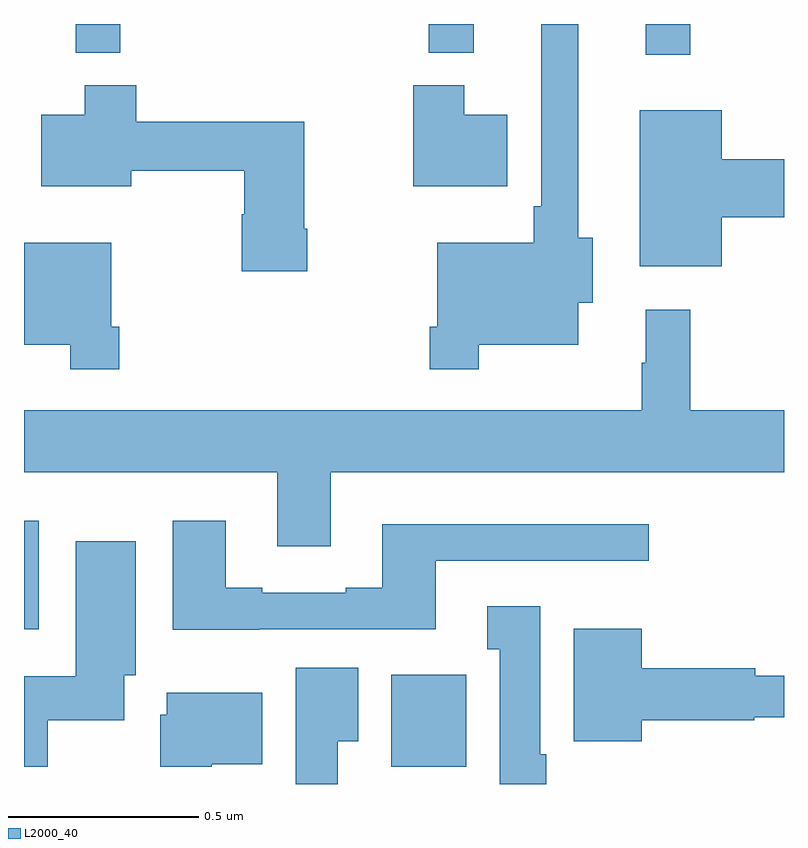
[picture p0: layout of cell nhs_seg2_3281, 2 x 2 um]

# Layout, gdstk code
import gdstk
lib = gdstk.Library(unit=1e-6, precision=1e-09)
def R(c, l, rs):  # rectangles x0, y0, x1, y1
    for r in rs: c.add(gdstk.rectangle(r[:2], r[2:], *l))
def P(c, l, *ps):  # polygons
    for p in ps: c.add(gdstk.Polygon(p, *l))
L2000_40 = (2000, 40)

nhs_seg2_3281 = lib.new_cell('nhs_seg2_3281')
R(nhs_seg2_3281, L2000_40, [(151.967,662.846,152.164,663.088), (151,663.207,151.039,663.493), (152.636,664.719,152.753,664.8), (151.136,664.724,151.253,664.8), (152.065,664.724,152.183,664.8)])
P(nhs_seg2_3281, L2000_40, [(152.197,663.956),(152.458,663.956),(152.458,664.067),(152.497,664.067),(152.497,664.238),(152.458,664.238),(152.458,664.8),(152.361,664.8),(152.361,664.321),(152.341,664.321),(152.341,664.225),(152.088,664.225),(152.088,664.003),(152.068,664.003),(152.068,663.891),(152.197,663.891)],
  [(152.272,664.561),(152.158,664.561),(152.158,664.639),(152.024,664.639),(152.024,664.373),(152.272,664.373)],
  [(151.746,664.261),(151.738,664.261),(151.738,664.543),(151.295,664.543),(151.295,664.639),(151.16,664.639),(151.16,664.561),(151.046,664.561),(151.046,664.373),(151.282,664.373),(151.282,664.414),(151.58,664.414),(151.58,664.299),(151.573,664.299),(151.573,664.149),(151.746,664.149)],
  [(152.836,664.292),(153,664.292),(153,664.444),(152.836,664.444),(152.836,664.573),(152.621,664.573),(152.621,664.163),(152.836,664.163)],
  [(151.25,664.003),(151.23,664.003),(151.23,664.225),(151,664.225),(151,663.956),(151.122,663.956),(151.122,663.891),(151.25,663.891)],
  [(151.807,663.62),(153,663.62),(153,663.784),(152.753,663.784),(152.753,664.048),(152.636,664.048),(152.636,663.908),(152.625,663.908),(152.625,663.784),(151,663.784),(151,663.62),(151.667,663.62),(151.667,663.426),(151.807,663.426)],
  [(151.619,663.207),(152.083,663.207),(152.083,663.387),(152.644,663.387),(152.644,663.484),(151.943,663.484),(151.943,663.316),(151.847,663.316),(151.847,663.303),(151.627,663.303),(151.627,663.316),(151.531,663.316),(151.531,663.493),(151.391,663.493),(151.391,663.206),(151.619,663.206)],
  [(151.062,662.968),(151.264,662.968),(151.264,663.086),(151.294,663.086),(151.294,663.439),(151.136,663.439),(151.136,663.084),(151,663.084),(151,662.846),(151.062,662.846)],
  [(152.374,662.878),(152.359,662.878),(152.359,663.268),(152.219,663.268),(152.219,663.155),(152.252,663.155),(152.252,662.8),(152.374,662.8)],
  [(152.626,662.968),(152.922,662.968),(152.922,662.976),(153,662.976),(153,663.085),(152.924,663.085),(152.924,663.104),(152.626,663.104),(152.626,663.208),(152.447,663.208),(152.447,662.912),(152.626,662.912)],
  [(151.825,662.912),(151.879,662.912),(151.879,663.106),(151.715,663.106),(151.715,662.8),(151.825,662.8)],
  [(151.494,662.852),(151.627,662.852),(151.627,663.04),(151.376,663.04),(151.376,662.982),(151.358,662.982),(151.358,662.846),(151.494,662.846)])

lib.write_gds('nhs_seg2_3281.gds')
